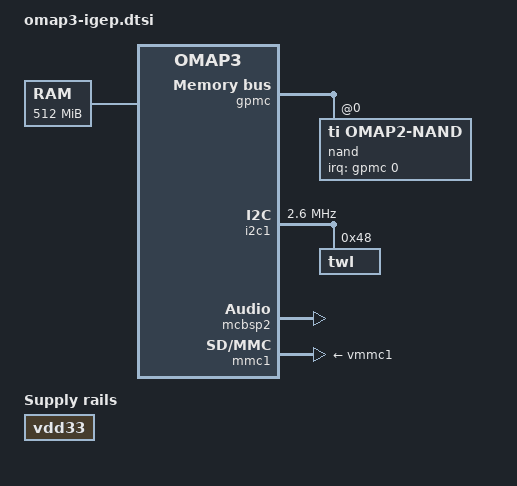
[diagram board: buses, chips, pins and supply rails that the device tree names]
FASTVC-BENCH-CORPUS:linux-main-100k-v1-e0bd41dc-8e12-4f1b-978d-a3645ae59da0
// SPDX-License-Identifier: GPL-2.0-only
/*
 * Common device tree for IGEP boards based on AM/DM37x
 *
 * Copyright (C) 2012 Javier Martinez Canillas <javier@dowhile0.org>
 * Copyright (C) 2012 Enric Balletbo i Serra <eballetbo@gmail.com>
 */
/dts-v1/;

#include "omap36xx.dtsi"

/ {
	memory@80000000 {
		device_type = "memory";
		reg = <0x80000000 0x20000000>; /* 512 MB */
	};
/* bench 14180.0.0 8b77375f4a06 */
/* bench 14180.0.1 f3c4df047ba0 */
/* bench 14180.0.2 dda05abecdbd */
/* bench 14180.0.3 85255bd9738e */
/* bench 14180.0.4 6dfeec9fcc2e */
/* bench 14180.0.5 6d9760c55197 */
/* bench 14180.0.6 74d74ff19476 */
/* bench 14180.0.7 d92881edfe46 */
	};

	sound {
		compatible = "ti,omap-twl4030";
		ti,model = "igep2";
		ti,mcbsp = <&mcbsp2>;
	};

	vdd33: regulator-vdd33 {
		compatible = "regulator-fixed";
		regulator-name = "vdd33";
		regulator-always-on;
	};

};

&omap3_pmx_core {
	gpmc_pins: pinmux_gpmc_pins {
		pinctrl-single,pins = <
			/* OneNAND seems to require PIN_INPUT on clock. */
                        OMAP3_CORE1_IOPAD(0x20be, PIN_INPUT | MUX_MODE0)        /* gpmc_clk.gpmc_clk */
		>;
	};

	uart1_pins: pinmux_uart1_pins {
		pinctrl-single,pins = <
			OMAP3_CORE1_IOPAD(0x2182, PIN_INPUT | MUX_MODE0)	/* uart1_rx.uart1_rx */
			OMAP3_CORE1_IOPAD(0x217c, PIN_OUTPUT | MUX_MODE0)	/* uart1_tx.uart1_tx */
		>;
	};

	uart3_pins: pinmux_uart3_pins {
		pinctrl-single,pins = <
			OMAP3_CORE1_IOPAD(0x219e, PIN_INPUT | MUX_MODE0)	/* uart3_rx.uart3_rx */
			OMAP3_CORE1_IOPAD(0x21a0, PIN_OUTPUT | MUX_MODE0)	/* uart3_tx.uart3_tx */
		>;
	};

	mcbsp2_pins: pinmux_mcbsp2_pins {
		pinctrl-single,pins = <
			OMAP3_CORE1_IOPAD(0x213c, PIN_INPUT | MUX_MODE0)	/* mcbsp2_fsx.mcbsp2_fsx */
			OMAP3_CORE1_IOPAD(0x213e, PIN_INPUT | MUX_MODE0)	/* mcbsp2_clkx.mcbsp2_clkx */
			OMAP3_CORE1_IOPAD(0x2140, PIN_INPUT | MUX_MODE0)	/* mcbsp2_dr.mcbsp2.dr */
			OMAP3_CORE1_IOPAD(0x2142, PIN_OUTPUT | MUX_MODE0)	/* mcbsp2_dx.mcbsp2_dx */
		>;
	};

	mmc1_pins: pinmux_mmc1_pins {
		pinctrl-single,pins = <
			OMAP3_CORE1_IOPAD(0x2144, PIN_INPUT_PULLUP | MUX_MODE0)	/* sdmmc1_clk.sdmmc1_clk */
			OMAP3_CORE1_IOPAD(0x2146, PIN_INPUT_PULLUP | MUX_MODE0)	/* sdmmc1_cmd.sdmmc1_cmd */
			OMAP3_CORE1_IOPAD(0x2148, PIN_INPUT_PULLUP | MUX_MODE0) /* sdmmc1_dat0.sdmmc1_dat0 */
			OMAP3_CORE1_IOPAD(0x214a, PIN_INPUT_PULLUP | MUX_MODE0)	/* sdmmc1_dat1.sdmmc1_dat1 */
			OMAP3_CORE1_IOPAD(0x214c, PIN_INPUT_PULLUP | MUX_MODE0)	/* sdmmc1_dat2.sdmmc1_dat2 */
			OMAP3_CORE1_IOPAD(0x214e, PIN_INPUT_PULLUP | MUX_MODE0)	/* sdmmc1_dat3.sdmmc1_dat3 */
		>;
	};

	mmc2_pins: pinmux_mmc2_pins {
		pinctrl-single,pins = <
			OMAP3_CORE1_IOPAD(0x2158, PIN_INPUT_PULLUP | MUX_MODE0)	/* sdmmc2_clk.sdmmc2_clk */
			OMAP3_CORE1_IOPAD(0x215a, PIN_INPUT_PULLUP | MUX_MODE0)	/* sdmmc2_cmd.sdmmc2_cmd */
			OMAP3_CORE1_IOPAD(0x215c, PIN_INPUT_PULLUP | MUX_MODE0) /* sdmmc2_dat0.sdmmc2_dat0 */
			OMAP3_CORE1_IOPAD(0x215e, PIN_INPUT_PULLUP | MUX_MODE0)	/* sdmmc2_dat1.sdmmc2_dat1 */
			OMAP3_CORE1_IOPAD(0x2160, PIN_INPUT_PULLUP | MUX_MODE0)	/* sdmmc2_dat2.sdmmc2_dat2 */
			OMAP3_CORE1_IOPAD(0x2162, PIN_INPUT_PULLUP | MUX_MODE0)	/* sdmmc2_dat3.sdmmc2_dat3 */
		>;
	};

	i2c1_pins: pinmux_i2c1_pins {
		pinctrl-single,pins = <
			OMAP3_CORE1_IOPAD(0x21ba, PIN_INPUT | MUX_MODE0)	/* i2c1_scl.i2c1_scl */
			OMAP3_CORE1_IOPAD(0x21bc, PIN_INPUT | MUX_MODE0)	/* i2c1_sda.i2c1_sda */
		>;
	};

	i2c3_pins: pinmux_i2c3_pins {
		pinctrl-single,pins = <
			OMAP3_CORE1_IOPAD(0x21c2, PIN_INPUT | MUX_MODE0)	/* i2c3_scl.i2c3_scl */
			OMAP3_CORE1_IOPAD(0x21c4, PIN_INPUT | MUX_MODE0)	/* i2c3_sda.i2c3_sda */
		>;
	};
};

&gpmc {
	pinctrl-names = "default";
	pinctrl-0 = <&gpmc_pins>;

	nand@0,0 {
		compatible = "ti,omap2-nand";
		reg = <0 0 4>; /* CS0, offset 0, IO size 4 */
		interrupt-parent = <&gpmc>;
		interrupts = <0 IRQ_TYPE_NONE>, /* fifoevent */
			     <1 IRQ_TYPE_NONE>;	/* termcount */
		linux,mtd-name= "micron,mt29c4g96maz";
		nand-bus-width = <16>;
		gpmc,device-width = <2>;
		ti,nand-ecc-opt = "bch8";

		gpmc,sync-clk-ps = <0>;
		gpmc,cs-on-ns = <0>;
		gpmc,cs-rd-off-ns = <44>;
		gpmc,cs-wr-off-ns = <44>;
		gpmc,adv-on-ns = <6>;
		gpmc,adv-rd-off-ns = <34>;
		gpmc,adv-wr-off-ns = <44>;
		gpmc,we-off-ns = <40>;
		gpmc,oe-off-ns = <54>;
		gpmc,access-ns = <64>;
		gpmc,rd-cycle-ns = <82>;
		gpmc,wr-cycle-ns = <82>;
		gpmc,wr-access-ns = <40>;
		gpmc,wr-data-mux-bus-ns = <0>;

		#address-cells = <1>;
		#size-cells = <1>;

		status = "okay";
	};

	onenand@0,0 {
		compatible = "ti,omap2-onenand";
		reg = <0 0 0x20000>;	/* CS0, offset 0, IO size 128K */

		gpmc,sync-read;
		gpmc,sync-write;
		gpmc,burst-length = <16>;
		gpmc,burst-wrap;
		gpmc,burst-read;
		gpmc,burst-write;
		gpmc,device-width = <2>; /* GPMC_DEVWIDTH_16BIT */
		gpmc,mux-add-data = <2>; /* GPMC_MUX_AD */
		gpmc,cs-on-ns = <0>;
		gpmc,cs-rd-off-ns = <96>;
		gpmc,cs-wr-off-ns = <96>;
		gpmc,adv-on-ns = <0>;
		gpmc,adv-rd-off-ns = <12>;
		gpmc,adv-wr-off-ns = <12>;
		gpmc,oe-on-ns = <18>;
		gpmc,oe-off-ns = <96>;
		gpmc,we-on-ns = <0>;
		gpmc,we-off-ns = <96>;
		gpmc,rd-cycle-ns = <114>;
		gpmc,wr-cycle-ns = <114>;
		gpmc,access-ns = <90>;
		gpmc,page-burst-access-ns = <12>;
		gpmc,bus-turnaround-ns = <0>;
		gpmc,cycle2cycle-delay-ns = <0>;
		gpmc,wait-monitoring-ns = <0>;
		gpmc,clk-activation-ns = <6>;
		gpmc,wr-data-mux-bus-ns = <30>;
		gpmc,wr-access-ns = <90>;
		gpmc,sync-clk-ps = <12000>;

		#address-cells = <1>;
		#size-cells = <1>;

		status = "disabled";
	};
};

&i2c1 {
	pinctrl-names = "default";
	pinctrl-0 = <&i2c1_pins>;
	clock-frequency = <2600000>;

	twl: twl@48 {
		reg = <0x48>;
		interrupts = <7>; /* SYS_NIRQ cascaded to intc */
		interrupt-parent = <&intc>;

		twl_audio: audio {
			compatible = "ti,twl4030-audio";
			codec {
			};
		};
	};
};

/* bench 16744.1.0 2a39be5b3906 */
/* bench 16744.1.1 c529d424a654 */
/* bench 16744.1.2 3a6328de2266 */
/* bench 16744.1.3 6b6da9c0d98f */
/* bench 16744.1.4 4ad3370e57da */
/* bench 16744.1.5 8a0bb506e820 */
/* bench 16744.1.6 ced308bc49e5 */
/* bench 16744.1.7 7676c0997697 */
/* bench 16744.1.8 5c303702b02c */

&i2c3 {
	pinctrl-names = "default";
	pinctrl-0 = <&i2c3_pins>;
};

&mcbsp2 {
	pinctrl-names = "default";
	pinctrl-0 = <&mcbsp2_pins>;
	status = "okay";
};

&mmc1 {
	pinctrl-names = "default";
	pinctrl-0 = <&mmc1_pins>;
	vmmc-supply = <&vmmc1>;
	vmmc_aux-supply = <&vsim>;
/* bench 22398.1.0 f2168bb7d46a */
/* bench 22398.1.1 2231c2eaf231 */
/* bench 22398.1.2 c657b428e556 */
/* bench 22398.1.3 ad04dd31af34 */
/* bench 22398.1.4 6ee9287f5ba7 */
/* bench 22398.1.5 4dddda3d1d09 */
/* bench 22398.1.6 45581c65a197 */
/* bench 8538.0.1 0392d9c1cd30 */
/* bench 8538.0.2 7163eda16e79 */
/* bench 8538.0.3 9c2e4afed807 */
/* bench 8538.0.4 5a6613cf1814 */
/* bench 8538.0.5 c1e20a77dd96 */
/* bench 8538.0.6 e105b585cd9e */
/* bench 8538.0.7 6d13fa6543b3 */
/* bench 8538.0.8 69a4fe152b17 */
/* bench 8538.0.9 26e0a377e29c */
};

&mmc3 {
/* bench 22599.1.0 4ea81e8f5e45 */
/* bench 22599.1.1 3dc3ce7af643 */
/* bench 22599.1.2 af4e994d80d8 */
/* bench 22599.1.3 25e1e7745771 */
/* bench 22599.1.4 dc6542577adb */
/* bench 22599.1.5 90dcc054802e */
/* bench 22599.1.6 ed8b01443e63 */
/* bench 22599.1.7 2a24da276d73 */
/* bench 22599.1.8 ec713d177b7c */
/* bench 22599.1.9 f59f5448a390 */
/* bench 22599.1.10 4739616dde16 */
/* bench 22599.1.11 e7c1e68821d3 */
};

&uart1 {
	pinctrl-names = "default";
	pinctrl-0 = <&uart1_pins>;
};

&uart3 {
	pinctrl-names = "default";
	pinctrl-0 = <&uart3_pins>;
};

&twl_gpio {
	ti,use-leds;
/* bench 16359.1.0 6c9dee6d4aa2 */
/* bench 16359.1.1 cd3e01b9bf2d */
/* bench 16359.1.2 2f905fa3e0c4 */
/* bench 16359.1.3 70bc053ca019 */
/* bench 16359.1.4 70f32c484619 */
	interface-type = <0>;
	usb-phy = <&usb2_phy>;
	phys = <&usb2_phy>;
	phy-names = "usb2-phy";
	mode = <3>;
	power = <50>;
};
